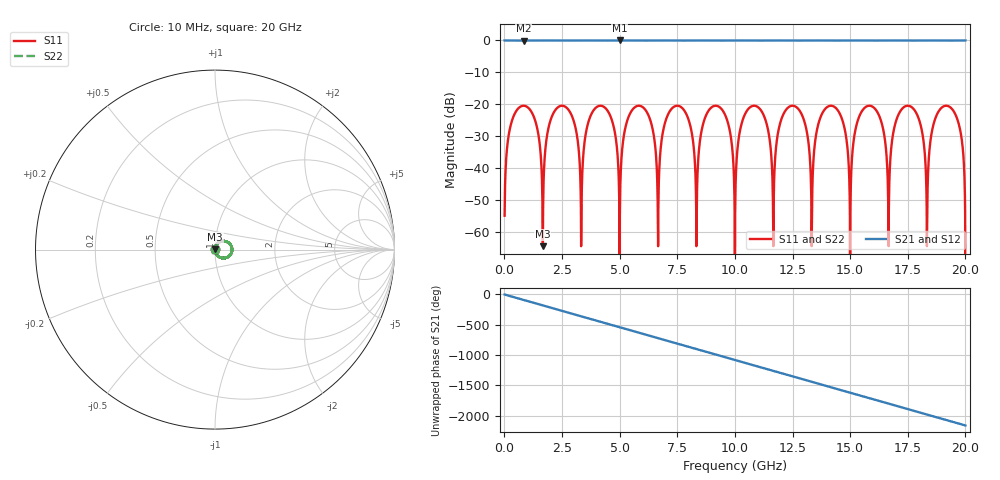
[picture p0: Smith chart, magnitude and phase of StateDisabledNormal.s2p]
! File created by SignalIntegrity v1.4.3: Signal and Power Integrity Tools
! https://github.com/Nubis-Communications/SignalIntegrity
# MHz S MA R 50.0
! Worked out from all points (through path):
!   2000 points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, 10 MHz to 20 GHz, reference 50 ohm
!   highest |S21| = 0.00 dB at 5 GHz (marker M1); lowest = 0.0 dB at 830 MHz (marker M2)
!   group delay of S21, straight-line fit = 300 ps
!   lowest |S11| = -64.4 dB at 1.67 GHz (marker M3), VSWR 1.00, Z = 50 + j0.06 ohm
!   |S11| at or under -10 dB: start of sweep to end of sweep
!   |S22| runs from - to -20.4 dB; largest |S21 - S12| = 0
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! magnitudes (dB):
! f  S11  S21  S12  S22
! 10 MHz  -54.9  0.0  0.0  -54.9
! 830 MHz  -20.4  0.0  0.0  -20.4
! 1.67 GHz  -64.4  0.0  0.0  -64.4
! 2.5 GHz  -20.4  0.0  0.0  -20.4
! 3.35 GHz  -50.5  0.0  0.0  -50.5
! 4.18 GHz  -20.4  0.0  0.0  -20.4
! 5 GHz  -  0.0  0.0  -
! 5.82 GHz  -20.4  0.0  0.0  -20.4
! 6.68 GHz  -52.4  0.0  0.0  -52.4
! 7.24 GHz  -21.5  0.0  0.0  -21.5
! 8.33 GHz  -64.4  0.0  0.0  -64.4
! 9.17 GHz  -20.4  0.0  0.0  -20.4
! 10.01 GHz  -54.9  0.0  0.0  -54.9
! 10.83 GHz  -20.4  0.0  0.0  -20.4
! 13.34 GHz  -58.4  0.0  0.0  -58.4
! 15.83 GHz  -20.4  0.0  0.0  -20.4
! 16.67 GHz  -64.4  0.0  0.0  -64.4
! 17.25 GHz  -21.4  0.0  0.0  -21.4
! 18.33 GHz  -64.4  0.0  0.0  -64.4
! 19.34 GHz  -20.9  0.0  0.0  -20.9
! 19.84 GHz  -31.0  0.0  0.0  -31.0
! 20 GHz  -  0.0  0.0  -
